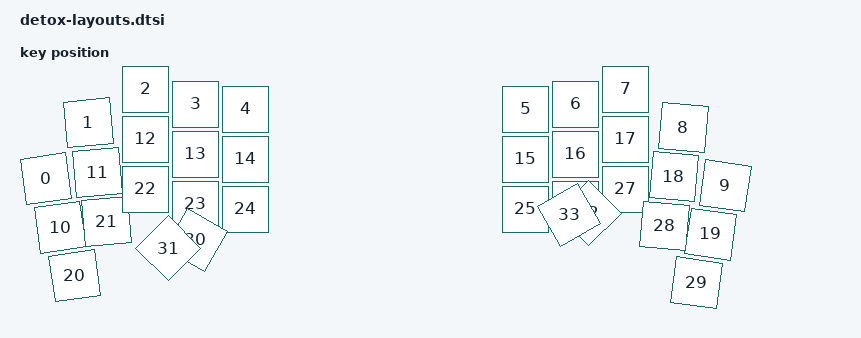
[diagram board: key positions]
#include <physical_layouts.dtsi>

/ {
    physical_layout0: physical_layout_0 {
        compatible = "zmk,physical-layout";
        display-name = "Default Layout";
        transform = <&default_transform>;
        kscan = <&kscan0>;

        keys  //                     w   h    x      y   rot      rx    ry
          // Left half - Row 1
          = <&key_physical_attrs   100 100 (-700)   50  (-800)     0     0>
          , <&key_physical_attrs   100 100 (-600) (-20) (-500)     0     0>
          , <&key_physical_attrs   100 100 (-480) (-40)      0     0     0>
          , <&key_physical_attrs   100 100 (-380) (-10)      0     0     0>
          , <&key_physical_attrs   100 100 (-280)    0       0     0     0>

          // Right half - Row 1
          , <&key_physical_attrs   100 100   280     0       0     0     0>
          , <&key_physical_attrs   100 100   380  (-10)      0     0     0>
          , <&key_physical_attrs   100 100   480  (-40)      0     0     0>
          , <&key_physical_attrs   100 100   600  (-20)    500     0     0>
          , <&key_physical_attrs   100 100   700     50    800     0     0>

          // Left half - Row 2
          , <&key_physical_attrs   100 100 (-685)  150  (-800)     0     0>
          , <&key_physical_attrs   100 100 (-590)   80  (-500)     0     0>
          , <&key_physical_attrs   100 100 (-480)   60       0     0     0>
          , <&key_physical_attrs   100 100 (-380)   90       0     0     0>
          , <&key_physical_attrs   100 100 (-280)  100       0     0     0>

          // Right half - Row 2
          , <&key_physical_attrs   100 100  280     100      0     0     0>
          , <&key_physical_attrs   100 100  380      90      0     0     0>
          , <&key_physical_attrs   100 100  480      60      0     0     0>
          , <&key_physical_attrs   100 100  590      80    500     0     0>
          , <&key_physical_attrs   100 100  685     150    800     0     0>

          // Left half - Row 3
          , <&key_physical_attrs   100 100 (-670)  250  (-800)     0     0>
          , <&key_physical_attrs   100 100 (-580)  180  (-500)     0     0>
          , <&key_physical_attrs   100 100 (-480)  160       0     0     0>
          , <&key_physical_attrs   100 100 (-380)  190       0     0     0>
          , <&key_physical_attrs   100 100 (-280)  200       0     0     0>

          // Right half - Row 3
          , <&key_physical_attrs   100 100  280     200      0     0     0>
          , <&key_physical_attrs   100 100  380     190      0     0     0>
          , <&key_physical_attrs   100 100  480     160      0     0     0>
          , <&key_physical_attrs   100 100  580     180    500     0     0>
          , <&key_physical_attrs   100 100  670     250    800     0     0>

          // Left half - Thumb keys
          , <&key_physical_attrs   100 100 (-180)  385    3000     0     0>
          , <&key_physical_attrs   100 100  (-90)  455    4500     0     0>

          // Right half - Thumb keys
          , <&key_physical_attrs   100 100   90     455 (-4500)    0     0>
          , <&key_physical_attrs   100 100  180     385 (-3000)    0     0>
          ;
    };
};
